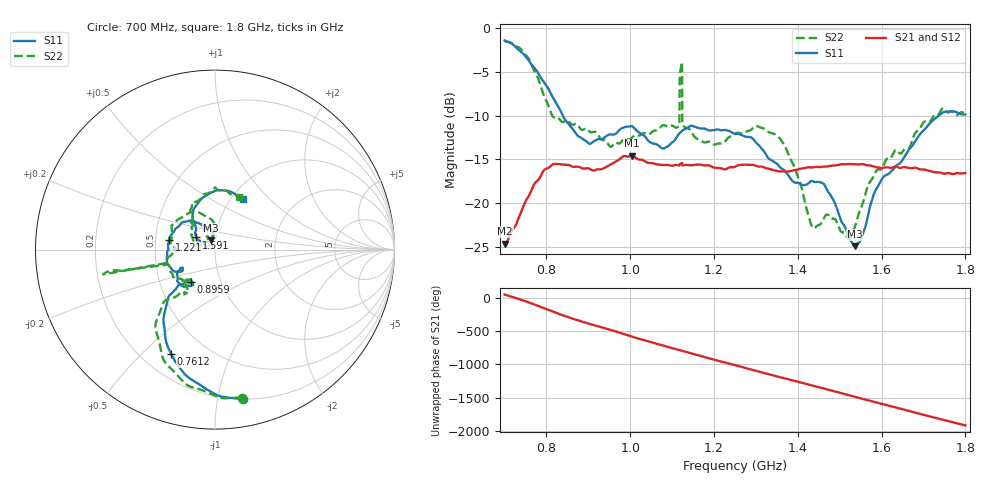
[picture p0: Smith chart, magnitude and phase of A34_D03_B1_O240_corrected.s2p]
! Created with skrf 1.9.0 (http://scikit-rf.org).
# Hz S RI R 50.0
!freq ReS11 ImS11 ReS21 ImS21 ReS12 ImS12 ReS22 ImS22
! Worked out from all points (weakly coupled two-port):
!   1601 points, 700 MHz to 1.8 GHz, reference 50 ohm
!   highest |S21| = -14.57 dB at 1.004 GHz (marker M1); lowest = -24.6 dB at 701.4 MHz (marker M2)
!   lowest |S11| = -24.9 dB at 1.535 GHz (marker M3), VSWR 1.12, Z = 47.5 + j4.95 ohm
!   |S11| at or under -10 dB: 839.1 MHz to 1.736 GHz (897.1 MHz wide, 69.7 % of centre)
!   |S22| runs from -24.0 to -1.5 dB; largest |S21 - S12| = 0.0034
!   S11 on the Smith chart (normalised r, x): 700 MHz: 0.20, -1.19; 761.2 MHz: 0.32, -0.62; 895.9 MHz: 0.72, -0.27; 1.221 GHz: 0.59, +0.07; 1.591 GHz: 0.80, +0.11; 1.8 GHz: 1.13, +0.71
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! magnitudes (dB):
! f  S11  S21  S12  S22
! 700 MHz  -1.4  -24.6  -24.3  -1.5
! 701.4 MHz  -1.5  -24.6  -24.2  -1.5
! 761.2 MHz  -4.0  -18.8  -18.7  -3.8
! 814.8 MHz  -7.9  -15.6  -15.6  -10.1
! 883.6 MHz  -12.6  -16.0  -15.9  -11.6
! 895.9 MHz  -12.9  -16.0  -16.1  -11.5
! 1.004 GHz  -11.2  -14.6  -14.7  -12.5
! 1.067 GHz  -13.4  -15.6  -15.5  -11.6
! 1.112 GHz  -12.4  -15.6  -15.7  -11.4
! 1.118 GHz  -12.0  -15.5  -15.5  -5.3
! 1.123 GHz  -11.7  -15.4  -15.3  -3.9
! 1.13 GHz  -11.5  -15.6  -15.7  -11.3
! 1.221 GHz  -11.7  -16.1  -16.1  -13.2
! 1.25 GHz  -12.1  -15.8  -15.8  -12.1
! 1.357 GHz  -15.9  -16.4  -16.3  -12.6
! 1.434 GHz  -17.5  -15.9  -15.9  -22.6
! 1.464 GHz  -17.9  -15.8  -15.8  -21.6
! 1.535 GHz  -24.9  -15.6  -15.6  -22.8
! 1.591 GHz  -18.1  -15.9  -15.9  -16.1
! 1.617 GHz  -16.6  -15.9  -15.9  -14.9
! 1.74 GHz  -9.8  -16.5  -16.5  -9.5
! 1.8 GHz  -9.9  -16.5  -16.5  -9.9
